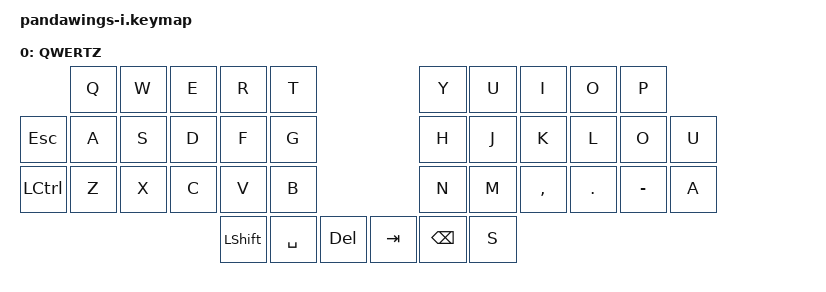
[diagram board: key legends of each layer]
#include <behaviors.dtsi>
#include <dt-bindings/zmk/keys.h>


/ {  
    keymap {
      compatible = "zmk,keymap";        

      base_layer {
        display-name = "QWERTZ";
        bindings = <
//           ┌───┬───┬───┬──────┬─────┐               ┌──────┬───┬───┬───┬───┐
//           │ Q │ W │ E │  R   │  T  │               │  Y   │ U │ I │ O │ P │
//    ┌──────┼───┼───┼───┼──────┼─────┤               ├──────┼───┼───┼───┼───┼───┐
//    │ esc  │ A │ S │ D │  F   │  G  │               │  H   │ J │ K │ L │ O │ U │
//    ├──────┼───┼───┼───┼──────┼─────┤               ├──────┼───┼───┼───┼───┼───┤
//    │ lctl │ Z │ X │ C │  V   │  B  │               │  N   │ M │ , │ . │ - │ A │
//    └──────┴───┴───┴───┼──────┼─────┼─────┐   ┌─────┼──────┼───┼───┴───┴───┴───┘
//                       │ lsft │ spc │ del │   │ tab │ bspc │ S │
//                       └──────┴─────┴─────┘   └─────┴──────┴───┘
               &kp Q   &kp W   &kp E   &kp R       &kp T                                  &kp Y           &kp U   &kp I       &kp O     &kp P
  &kp ESCAPE   &kp A   &kp S   &kp D   &kp F       &kp G                                  &kp H           &kp J   &kp K       &kp L     &kp O       &kp U
  &kp LCTRL    &kp Z   &kp X   &kp C   &kp V       &kp B                                  &kp N           &kp M   &kp COMMA   &kp DOT   &kp MINUS   &kp A
                                       &kp LSHFT   &kp SPACE   &kp DELETE       &kp TAB   &kp BACKSPACE   &kp S
        >;
      };
    };
 };
